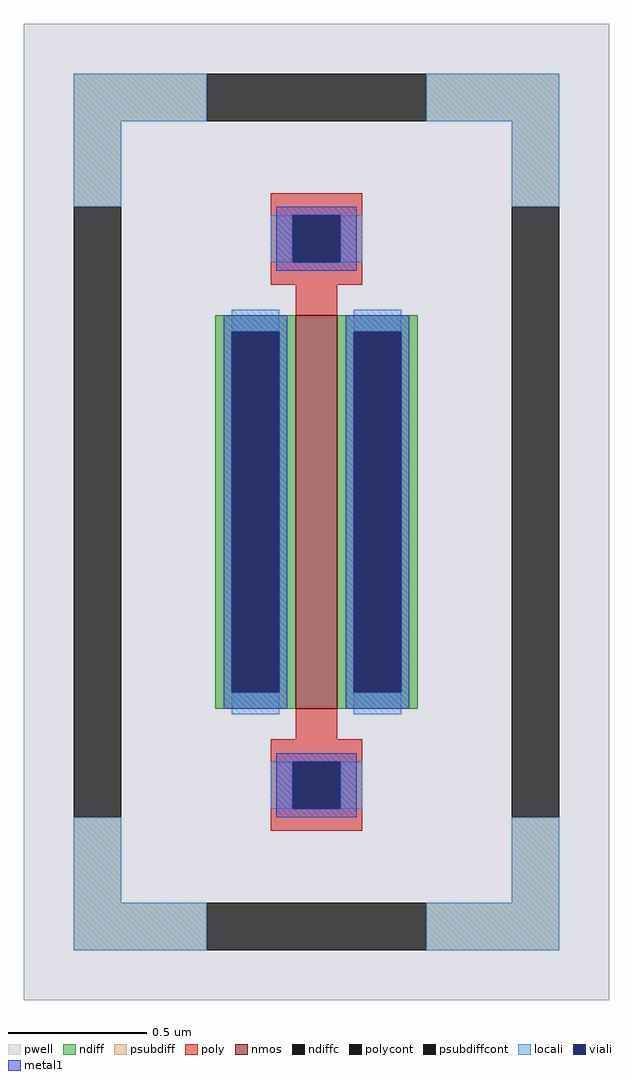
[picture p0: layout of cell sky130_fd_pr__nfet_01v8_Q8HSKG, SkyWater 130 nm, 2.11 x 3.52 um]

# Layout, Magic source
magic
tech sky130A
magscale 1 2
<< pwell >>
rect -211 -352 211 352
<< nmos >>
rect -15 -142 15 142
<< ndiff >>
rect -73 130 -15 142
rect -73 -130 -61 130
rect -27 -130 -15 130
rect -73 -142 -15 -130
rect 15 130 73 142
rect 15 -130 27 130
rect 61 -130 73 130
rect 15 -142 73 -130
<< ndiffc >>
rect -61 -130 -27 130
rect 27 -130 61 130
<< psubdiff >>
rect -175 282 -79 316
rect 79 282 175 316
rect -175 220 -141 282
rect 141 220 175 282
rect -175 -282 -141 -220
rect 141 -282 175 -220
rect -175 -316 -79 -282
rect 79 -316 175 -282
<< psubdiffcont >>
rect -79 282 79 316
rect -175 -220 -141 220
rect 141 -220 175 220
rect -79 -316 79 -282
<< poly >>
rect -33 214 33 230
rect -33 180 -17 214
rect 17 180 33 214
rect -33 164 33 180
rect -15 142 15 164
rect -15 -164 15 -142
rect -33 -180 33 -164
rect -33 -214 -17 -180
rect 17 -214 33 -180
rect -33 -230 33 -214
<< polycont >>
rect -17 180 17 214
rect -17 -214 17 -180
<< locali >>
rect -175 282 -79 316
rect 79 282 175 316
rect -175 220 -141 282
rect 141 220 175 282
rect -33 180 -17 214
rect 17 180 33 214
rect -61 130 -27 146
rect -61 -146 -27 -130
rect 27 130 61 146
rect 27 -146 61 -130
rect -33 -214 -17 -180
rect 17 -214 33 -180
rect -175 -282 -141 -220
rect 141 -282 175 -220
rect -175 -316 -79 -282
rect 79 -316 175 -282
<< viali >>
rect -17 180 17 214
rect -61 -130 -27 130
rect 27 -130 61 130
rect -17 -214 17 -180
<< metal1 >>
rect -29 214 29 220
rect -29 180 -17 214
rect 17 180 29 214
rect -29 174 29 180
rect -67 130 -21 142
rect -67 -130 -61 130
rect -27 -130 -21 130
rect -67 -142 -21 -130
rect 21 130 67 142
rect 21 -130 27 130
rect 61 -130 67 130
rect 21 -142 67 -130
rect -29 -180 29 -174
rect -29 -214 -17 -180
rect 17 -214 29 -180
rect -29 -220 29 -214
<< properties >>
string FIXED_BBOX -158 -299 158 299
string gencell sky130_fd_pr__nfet_01v8
string library sky130
string parameters w 1.42 l 0.15 m 1 nf 1 diffcov 100 polycov 100 guard 1 glc 1 grc 1 gtc 1 gbc 1 tbcov 100 rlcov 100 topc 1 botc 1 poverlap 0 doverlap 1 lmin 0.15 wmin 0.42 compatible {sky130_fd_pr__nfet_01v8 sky130_fd_pr__nfet_01v8_lvt  sky130_fd_bs_flash__special_sonosfet_star  sky130_fd_pr__nfet_g5v0d10v5 sky130_fd_pr__nfet_05v0_nvt  sky130_fd_pr__nfet_03v3_nvt} full_metal 1 viasrc 100 viadrn 100 viagate 100 viagb 0 viagr 0 viagl 0 viagt 0
<< end >>
